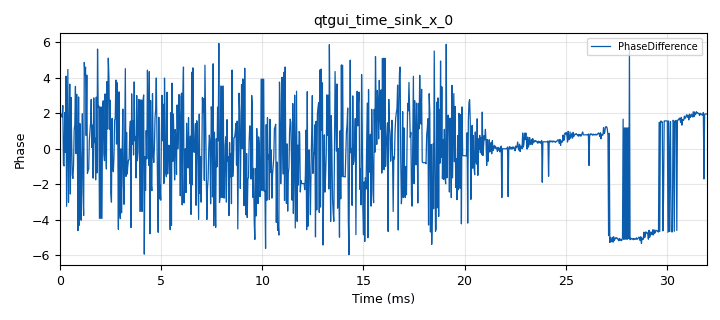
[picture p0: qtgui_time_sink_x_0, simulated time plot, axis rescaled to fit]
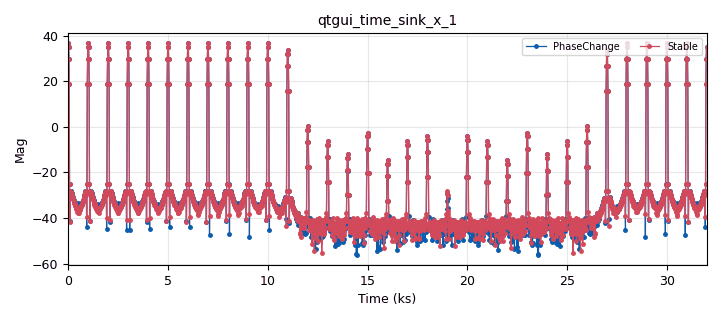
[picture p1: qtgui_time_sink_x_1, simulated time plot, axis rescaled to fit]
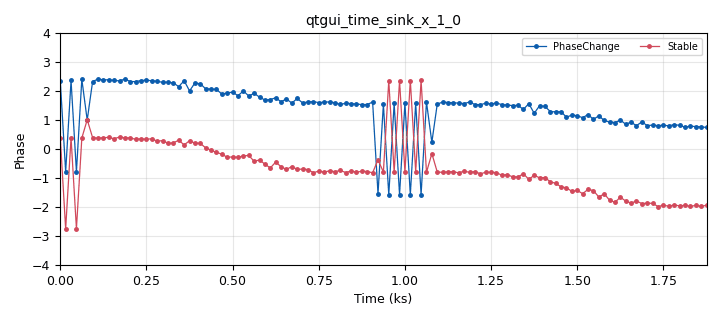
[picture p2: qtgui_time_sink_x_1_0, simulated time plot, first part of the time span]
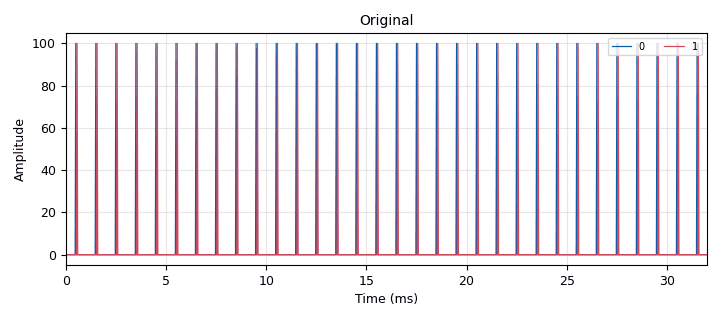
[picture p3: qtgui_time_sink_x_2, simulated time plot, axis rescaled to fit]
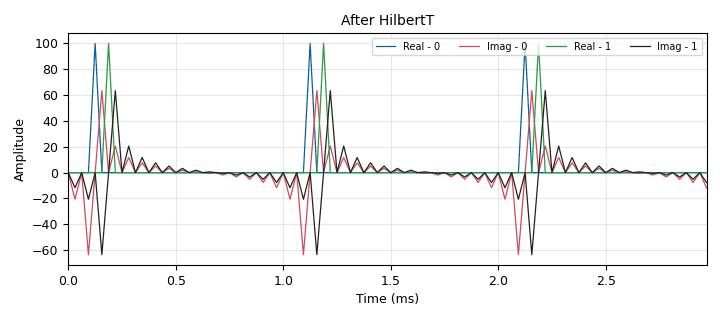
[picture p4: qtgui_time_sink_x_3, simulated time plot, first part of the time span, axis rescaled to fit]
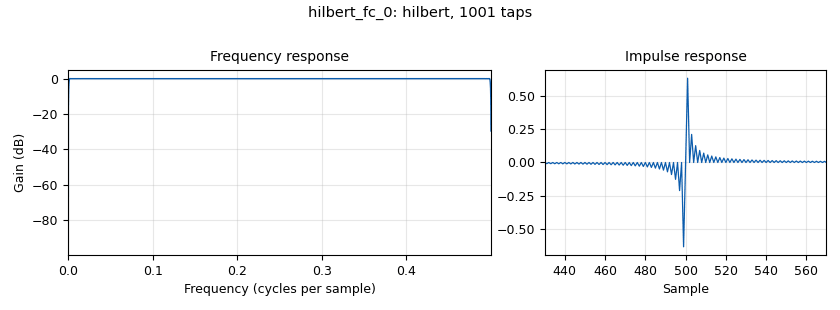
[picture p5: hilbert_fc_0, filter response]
<?xml version='1.0' encoding='utf-8'?>
<?grc format='1' created='3.7.9'?>
<flow_graph>
<block>
<key>options</key>
<param><key>id</key><value>CombSignalDelay</value></param>
<param><key>category</key><value>Custom</value></param>
<param><key>generate_options</key><value>qt_gui</value></param>
</block>
<block>
<key>variable</key>
<param><key>id</key><value>FFTNum</value></param>
<param><key>value</key><value>2048</value></param>
</block>
<block>
<key>variable_qtgui_range</key>
<param><key>id</key><value>delay</value></param>
<param><key>value</key><value>2</value></param>
<param><key>orient</key><value>Qt.Horizontal</value></param>
<param><key>start</key><value>1</value></param>
<param><key>step</key><value>1</value></param>
<param><key>stop</key><value>32</value></param>
<param><key>rangeType</key><value>int</value></param>
</block>
<block>
<key>variable</key>
<param><key>id</key><value>rev_freq</value></param>
<param><key>value</key><value>1000</value></param>
</block>
<block>
<key>variable</key>
<param><key>id</key><value>samp_rate</value></param>
<param><key>value</key><value>32000</value></param>
</block>
<block>
<key>analog_sig_source_x</key>
<param><key>id</key><value>analog_sig_source_x_0</value></param>
<param><key>amp</key><value>100</value></param>
<param><key>freq</key><value>rev_freq</value></param>
<param><key>offset</key><value>0</value></param>
<param><key>type</key><value>float</value></param>
<param><key>samp_rate</key><value>samp_rate</value></param>
<param><key>waveform</key><value>analog.GR_SQR_WAVE</value></param>
</block>
<block>
<key>analog_sig_source_x</key>
<param><key>id</key><value>analog_sig_source_x_1</value></param>
<param><key>amp</key><value>-100</value></param>
<param><key>freq</key><value>rev_freq</value></param>
<param><key>offset</key><value>0</value></param>
<param><key>type</key><value>float</value></param>
<param><key>samp_rate</key><value>samp_rate</value></param>
<param><key>waveform</key><value>analog.GR_SQR_WAVE</value></param>
</block>
<block>
<key>analog_sig_source_x</key>
<param><key>id</key><value>analog_sig_source_x_2</value></param>
<param><key>amp</key><value>0</value></param>
<param><key>freq</key><value>1000</value></param>
<param><key>offset</key><value>0</value></param>
<param><key>type</key><value>float</value></param>
<param><key>samp_rate</key><value>samp_rate</value></param>
<param><key>waveform</key><value>analog.GR_CONST_WAVE</value></param>
</block>
<block>
<key>blocks_add_xx</key>
<param><key>id</key><value>blocks_add_xx_0</value></param>
<param><key>type</key><value>float</value></param>
</block>
<block>
<key>blocks_complex_to_arg</key>
<param><key>id</key><value>blocks_complex_to_arg_0</value></param>
</block>
<block>
<key>blocks_complex_to_arg</key>
<param><key>id</key><value>blocks_complex_to_arg_0_0</value></param>
</block>
<block>
<key>blocks_complex_to_mag</key>
<param><key>id</key><value>blocks_complex_to_mag_0</value></param>
</block>
<block>
<key>blocks_complex_to_mag</key>
<param><key>id</key><value>blocks_complex_to_mag_0_0</value></param>
</block>
<block>
<key>blocks_delay</key>
<param><key>id</key><value>blocks_delay_0</value></param>
<param><key>delay</key><value>1</value></param>
<param><key>type</key><value>float</value></param>
</block>
<block>
<key>blocks_delay</key>
<param><key>id</key><value>blocks_delay_1</value></param>
<param><key>delay</key><value>delay</value></param>
<param><key>type</key><value>float</value></param>
</block>
<block>
<key>blocks_max_xx</key>
<param><key>id</key><value>blocks_max_xx_1</value></param>
<param><key>type</key><value>float</value></param>
<param><key>num_inputs</key><value>2</value></param>
</block>
<block>
<key>blocks_nlog10_ff</key>
<param><key>id</key><value>blocks_nlog10_ff_0</value></param>
<param><key>k</key><value>0</value></param>
<param><key>n</key><value>10</value></param>
</block>
<block>
<key>blocks_nlog10_ff</key>
<param><key>id</key><value>blocks_nlog10_ff_0_0</value></param>
<param><key>k</key><value>0</value></param>
<param><key>n</key><value>10</value></param>
</block>
<block>
<key>blocks_skiphead</key>
<param><key>id</key><value>blocks_skiphead_0</value></param>
<param><key>num_items</key><value>1024</value></param>
<param><key>type</key><value>float</value></param>
</block>
<block>
<key>blocks_stream_to_vector</key>
<param><key>id</key><value>blocks_stream_to_vector_0</value></param>
<param><key>type</key><value>complex</value></param>
<param><key>num_items</key><value>FFTNum</value></param>
</block>
<block>
<key>blocks_stream_to_vector</key>
<param><key>id</key><value>blocks_stream_to_vector_0_0</value></param>
<param><key>type</key><value>complex</value></param>
<param><key>num_items</key><value>FFTNum</value></param>
</block>
<block>
<key>blocks_sub_xx</key>
<param><key>id</key><value>blocks_sub_xx_0</value></param>
<param><key>type</key><value>float</value></param>
</block>
<block>
<key>blocks_throttle</key>
<param><key>id</key><value>blocks_throttle_0</value></param>
<param><key>samples_per_second</key><value>64000</value></param>
<param><key>type</key><value>float</value></param>
</block>
<block>
<key>blocks_vector_to_stream</key>
<param><key>id</key><value>blocks_vector_to_stream_0</value></param>
<param><key>type</key><value>complex</value></param>
<param><key>num_items</key><value>FFTNum</value></param>
</block>
<block>
<key>blocks_vector_to_stream</key>
<param><key>id</key><value>blocks_vector_to_stream_0_0</value></param>
<param><key>type</key><value>complex</value></param>
<param><key>num_items</key><value>FFTNum</value></param>
</block>
<block>
<key>fft_vxx</key>
<param><key>id</key><value>fft_vxx_0</value></param>
<param><key>fft_size</key><value>FFTNum</value></param>
<param><key>forward</key><value>True</value></param>
<param><key>type</key><value>complex</value></param>
<param><key>shift</key><value>True</value></param>
<param><key>window</key><value>window.blackmanharris(FFTNum)</value></param>
</block>
<block>
<key>fft_vxx</key>
<param><key>id</key><value>fft_vxx_0_0</value></param>
<param><key>fft_size</key><value>FFTNum</value></param>
<param><key>forward</key><value>True</value></param>
<param><key>type</key><value>complex</value></param>
<param><key>shift</key><value>True</value></param>
<param><key>window</key><value>window.blackmanharris(FFTNum)</value></param>
</block>
<block>
<key>hilbert_fc</key>
<param><key>id</key><value>hilbert_fc_0</value></param>
<param><key>num_taps</key><value>1000</value></param>
<param><key>win</key><value>firdes.WIN_HAMMING</value></param>
</block>
<block>
<key>hilbert_fc</key>
<param><key>id</key><value>hilbert_fc_0_0</value></param>
<param><key>num_taps</key><value>1000</value></param>
<param><key>win</key><value>firdes.WIN_HAMMING</value></param>
</block>
<block>
<key>qtgui_number_sink</key>
<param><key>id</key><value>qtgui_number_sink_0</value></param>
<param><key>gui_hint</key><value>tab@1: 1,1,1,1</value></param>
<param><key>graph_type</key><value>qtgui.NUM_GRAPH_HORIZ</value></param>
<param><key>type</key><value>float</value></param>
<param><key>label1</key><value>PhaseDifference</value></param>
<param><key>unit1</key><value>rad</value></param>
<param><key>max</key><value>4</value></param>
<param><key>min</key><value>-4</value></param>
<param><key>name</key><value>"PhaseDifference"</value></param>
</block>
<block>
<key>qtgui_time_sink_x</key>
<param><key>id</key><value>qtgui_time_sink_x_0</value></param>
<param><key>gui_hint</key><value>tab@1: 2,1,1,1</value></param>
<param><key>grid</key><value>True</value></param>
<param><key>color1</key><value>"Dark Blue"</value></param>
<param><key>label1</key><value>PhaseDifference</value></param>
<param><key>size</key><value>1024</value></param>
<param><key>srate</key><value>samp_rate</value></param>
<param><key>type</key><value>float</value></param>
<param><key>ylabel</key><value>Phase</value></param>
<param><key>ymax</key><value>4</value></param>
<param><key>ymin</key><value>-4</value></param>
</block>
<block>
<key>qtgui_time_sink_x</key>
<param><key>id</key><value>qtgui_time_sink_x_1</value></param>
<param><key>gui_hint</key><value>tab@0: 1,1,1,1</value></param>
<param><key>grid</key><value>True</value></param>
<param><key>color1</key><value>"red"</value></param>
<param><key>label1</key><value>PhaseChange</value></param>
<param><key>marker1</key><value>0</value></param>
<param><key>color2</key><value>"dark green"</value></param>
<param><key>label2</key><value>Stable</value></param>
<param><key>marker2</key><value>2</value></param>
<param><key>name</key><value></value></param>
<param><key>nconnections</key><value>2</value></param>
<param><key>size</key><value>FFTNum</value></param>
<param><key>srate</key><value>FFTNum*1.0/samp_rate</value></param>
<param><key>type</key><value>float</value></param>
<param><key>update_time</key><value>0.01</value></param>
<param><key>ylabel</key><value>Mag</value></param>
<param><key>ymax</key><value>20</value></param>
<param><key>ymin</key><value>-90</value></param>
</block>
<block>
<key>qtgui_time_sink_x</key>
<param><key>id</key><value>qtgui_time_sink_x_1_0</value></param>
<param><key>gui_hint</key><value>tab@0: 1,2,1,1</value></param>
<param><key>grid</key><value>True</value></param>
<param><key>color1</key><value>"red"</value></param>
<param><key>label1</key><value>PhaseChange</value></param>
<param><key>marker1</key><value>0</value></param>
<param><key>color2</key><value>"dark green"</value></param>
<param><key>label2</key><value>Stable</value></param>
<param><key>marker2</key><value>2</value></param>
<param><key>name</key><value></value></param>
<param><key>nconnections</key><value>2</value></param>
<param><key>size</key><value>FFTNum</value></param>
<param><key>srate</key><value>FFTNum*1.0/samp_rate</value></param>
<param><key>type</key><value>float</value></param>
<param><key>update_time</key><value>10</value></param>
<param><key>ylabel</key><value>Phase</value></param>
<param><key>ymax</key><value>4</value></param>
<param><key>ymin</key><value>-4</value></param>
</block>
<block>
<key>qtgui_time_sink_x</key>
<param><key>id</key><value>qtgui_time_sink_x_2</value></param>
<param><key>gui_hint</key><value>tab@2</value></param>
<param><key>color1</key><value>"dark red"</value></param>
<param><key>label1</key><value>0</value></param>
<param><key>color2</key><value>"red"</value></param>
<param><key>label2</key><value>1</value></param>
<param><key>name</key><value>"Original"</value></param>
<param><key>nconnections</key><value>2</value></param>
<param><key>size</key><value>1024</value></param>
<param><key>srate</key><value>samp_rate</value></param>
<param><key>type</key><value>float</value></param>
<param><key>ymax</key><value>1.1</value></param>
<param><key>ymin</key><value>-.1</value></param>
</block>
<block>
<key>qtgui_time_sink_x</key>
<param><key>id</key><value>qtgui_time_sink_x_3</value></param>
<param><key>gui_hint</key><value>tab@2</value></param>
<param><key>color1</key><value>"dark green"</value></param>
<param><key>label1</key><value>Real - 0</value></param>
<param><key>style1</key><value>2</value></param>
<param><key>color2</key><value>"Dark Blue"</value></param>
<param><key>label2</key><value>Imag - 0</value></param>
<param><key>style2</key><value>2</value></param>
<param><key>color3</key><value>"green"</value></param>
<param><key>label3</key><value>Real - 1</value></param>
<param><key>color4</key><value>"blue"</value></param>
<param><key>label4</key><value>Imag - 1</value></param>
<param><key>name</key><value>"After HilbertT"</value></param>
<param><key>nconnections</key><value>2</value></param>
<param><key>size</key><value>1024</value></param>
<param><key>srate</key><value>samp_rate</value></param>
<param><key>type</key><value>complex</value></param>
<param><key>ymax</key><value>1.1</value></param>
<param><key>ymin</key><value>-0.5</value></param>
</block>
<block>
<key>qtgui_tab_widget</key>
<param><key>id</key><value>tab</value></param>
<param><key>label0</key><value>Spectrum</value></param>
<param><key>label1</key><value>PhaseDifference</value></param>
<param><key>label2</key><value>TestDelay</value></param>
<param><key>num_tabs</key><value>3</value></param>
</block>
<connection><source_block_id>analog_sig_source_x_0</source_block_id><sink_block_id>blocks_add_xx_0</sink_block_id><source_key>0</source_key><sink_key>0</sink_key></connection>
<connection><source_block_id>analog_sig_source_x_1</source_block_id><sink_block_id>blocks_delay_0</sink_block_id><source_key>0</source_key><sink_key>0</sink_key></connection>
<connection><source_block_id>analog_sig_source_x_2</source_block_id><sink_block_id>blocks_max_xx_1</sink_block_id><source_key>0</source_key><sink_key>0</sink_key></connection>
<connection><source_block_id>blocks_add_xx_0</source_block_id><sink_block_id>blocks_max_xx_1</sink_block_id><source_key>0</source_key><sink_key>1</sink_key></connection>
<connection><source_block_id>blocks_complex_to_arg_0</source_block_id><sink_block_id>blocks_sub_xx_0</sink_block_id><source_key>0</source_key><sink_key>0</sink_key></connection>
<connection><source_block_id>blocks_complex_to_arg_0</source_block_id><sink_block_id>qtgui_time_sink_x_1_0</sink_block_id><source_key>0</source_key><sink_key>0</sink_key></connection>
<connection><source_block_id>blocks_complex_to_arg_0_0</source_block_id><sink_block_id>blocks_sub_xx_0</sink_block_id><source_key>0</source_key><sink_key>1</sink_key></connection>
<connection><source_block_id>blocks_complex_to_arg_0_0</source_block_id><sink_block_id>qtgui_time_sink_x_1_0</sink_block_id><source_key>0</source_key><sink_key>1</sink_key></connection>
<connection><source_block_id>blocks_complex_to_mag_0</source_block_id><sink_block_id>blocks_nlog10_ff_0</sink_block_id><source_key>0</source_key><sink_key>0</sink_key></connection>
<connection><source_block_id>blocks_complex_to_mag_0_0</source_block_id><sink_block_id>blocks_nlog10_ff_0_0</sink_block_id><source_key>0</source_key><sink_key>0</sink_key></connection>
<connection><source_block_id>blocks_delay_0</source_block_id><sink_block_id>blocks_add_xx_0</sink_block_id><source_key>0</source_key><sink_key>1</sink_key></connection>
<connection><source_block_id>blocks_delay_1</source_block_id><sink_block_id>hilbert_fc_0_0</sink_block_id><source_key>0</source_key><sink_key>0</sink_key></connection>
<connection><source_block_id>blocks_delay_1</source_block_id><sink_block_id>qtgui_time_sink_x_2</sink_block_id><source_key>0</source_key><sink_key>1</sink_key></connection>
<connection><source_block_id>blocks_max_xx_1</source_block_id><sink_block_id>blocks_throttle_0</sink_block_id><source_key>0</source_key><sink_key>0</sink_key></connection>
<connection><source_block_id>blocks_nlog10_ff_0</source_block_id><sink_block_id>qtgui_time_sink_x_1</sink_block_id><source_key>0</source_key><sink_key>0</sink_key></connection>
<connection><source_block_id>blocks_nlog10_ff_0_0</source_block_id><sink_block_id>qtgui_time_sink_x_1</sink_block_id><source_key>0</source_key><sink_key>1</sink_key></connection>
<connection><source_block_id>blocks_skiphead_0</source_block_id><sink_block_id>qtgui_number_sink_0</sink_block_id><source_key>0</source_key><sink_key>0</sink_key></connection>
<connection><source_block_id>blocks_stream_to_vector_0</source_block_id><sink_block_id>fft_vxx_0</sink_block_id><source_key>0</source_key><sink_key>0</sink_key></connection>
<connection><source_block_id>blocks_stream_to_vector_0_0</source_block_id><sink_block_id>fft_vxx_0_0</sink_block_id><source_key>0</source_key><sink_key>0</sink_key></connection>
<connection><source_block_id>blocks_sub_xx_0</source_block_id><sink_block_id>blocks_skiphead_0</sink_block_id><source_key>0</source_key><sink_key>0</sink_key></connection>
<connection><source_block_id>blocks_sub_xx_0</source_block_id><sink_block_id>qtgui_time_sink_x_0</sink_block_id><source_key>0</source_key><sink_key>0</sink_key></connection>
<connection><source_block_id>blocks_throttle_0</source_block_id><sink_block_id>blocks_delay_1</sink_block_id><source_key>0</source_key><sink_key>0</sink_key></connection>
<connection><source_block_id>blocks_throttle_0</source_block_id><sink_block_id>hilbert_fc_0</sink_block_id><source_key>0</source_key><sink_key>0</sink_key></connection>
<connection><source_block_id>blocks_throttle_0</source_block_id><sink_block_id>qtgui_time_sink_x_2</sink_block_id><source_key>0</source_key><sink_key>0</sink_key></connection>
<connection><source_block_id>blocks_vector_to_stream_0</source_block_id><sink_block_id>blocks_complex_to_arg_0</sink_block_id><source_key>0</source_key><sink_key>0</sink_key></connection>
<connection><source_block_id>blocks_vector_to_stream_0</source_block_id><sink_block_id>blocks_complex_to_mag_0</sink_block_id><source_key>0</source_key><sink_key>0</sink_key></connection>
<connection><source_block_id>blocks_vector_to_stream_0_0</source_block_id><sink_block_id>blocks_complex_to_arg_0_0</sink_block_id><source_key>0</source_key><sink_key>0</sink_key></connection>
<connection><source_block_id>blocks_vector_to_stream_0_0</source_block_id><sink_block_id>blocks_complex_to_mag_0_0</sink_block_id><source_key>0</source_key><sink_key>0</sink_key></connection>
<connection><source_block_id>fft_vxx_0</source_block_id><sink_block_id>blocks_vector_to_stream_0</sink_block_id><source_key>0</source_key><sink_key>0</sink_key></connection>
<connection><source_block_id>fft_vxx_0_0</source_block_id><sink_block_id>blocks_vector_to_stream_0_0</sink_block_id><source_key>0</source_key><sink_key>0</sink_key></connection>
<connection><source_block_id>hilbert_fc_0</source_block_id><sink_block_id>blocks_stream_to_vector_0</sink_block_id><source_key>0</source_key><sink_key>0</sink_key></connection>
<connection><source_block_id>hilbert_fc_0</source_block_id><sink_block_id>qtgui_time_sink_x_3</sink_block_id><source_key>0</source_key><sink_key>0</sink_key></connection>
<connection><source_block_id>hilbert_fc_0_0</source_block_id><sink_block_id>blocks_stream_to_vector_0_0</sink_block_id><source_key>0</source_key><sink_key>0</sink_key></connection>
<connection><source_block_id>hilbert_fc_0_0</source_block_id><sink_block_id>qtgui_time_sink_x_3</sink_block_id><source_key>0</source_key><sink_key>1</sink_key></connection>
</flow_graph>
